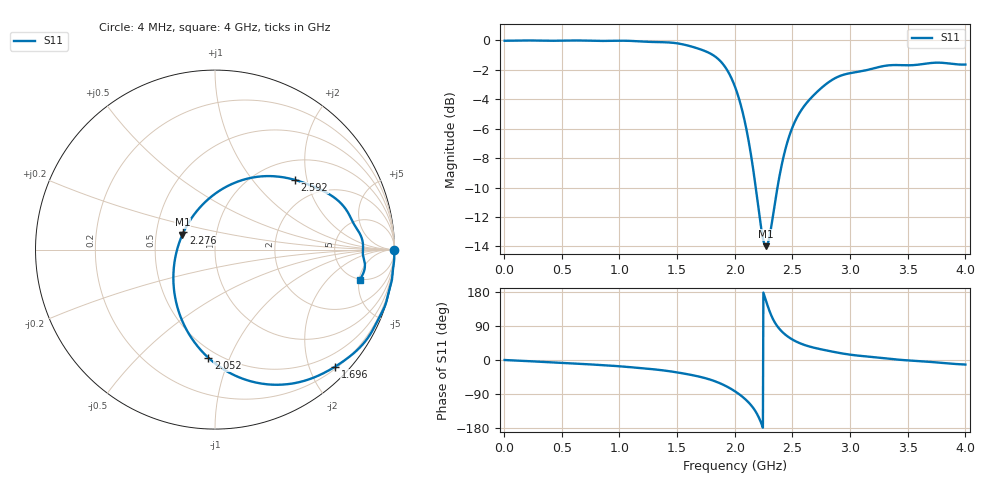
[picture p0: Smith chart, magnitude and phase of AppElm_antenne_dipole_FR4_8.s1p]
! TOUCHSTONE file generated by CST MICROWAVE STUDIO
! Date and time: Thu May 12 15:49:39 2022
! Project name: AppElm_antenne_dipole_FR4.cst
! Parameters = {L=42.68; e=0.035; f=2.45e+09; h=1.6; i=0.8; l1=4; lambda=122.449; ls=30; wl=1.7; ws=80}
! Header version: 2018
! Port assignment regex: !\s*Touchstone port\s*([0-9]+)\s*=\s*(CST MWS port|CST DS port)\s*([0-9]+|Zmin|Zmax)\s*\(\"(.*)\"\)(\s*mode\s*([0-9]+))?.*
! Touchstone port assignment:
! Touchstone port 1 = CST MWS port 1 ("")
# GHz S MA R 50
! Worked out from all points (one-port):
!   1000 points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, 4 MHz to 4 GHz, reference 50 ohm
!   lowest |S11| = -14.0 dB at 2.272 GHz (marker M1), VSWR 1.50, Z = 34.2 + j5.96 ohm
!   |S11| at or under -10 dB: 2.182 GHz to 2.37 GHz (188.4 MHz wide, 8.28 % of centre)
!   S11 on the Smith chart (normalised r, x): 4 MHz: open; 1.696 GHz: 0.24, -2.44; 2.052 GHz: 0.44, -0.84; 2.276 GHz: 0.69, +0.14; 2.592 GHz: 1.42, +1.70; 4 GHz: 4.78, -5.24
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0.004  0.9976 -0.1
0.504  0.9984 -7.4
1.004  0.998 -16.7
1.336  0.9872 -25.8
1.504  0.9773 -32.9
1.696  0.9346 -44.2
1.8  0.8973 -53.1
1.888  0.84 -63.6
1.948  0.7758 -72.8
2.004  0.6928 -83.1
2.052  0.6038 -93.5
2.112  0.4742 -109.5
2.168  0.3463 -129.9
2.236  0.2211 -171.8
2.272  0.1999 155.3
2.276  0.2004 151.5
2.308  0.2227 123.8
2.388  0.3463 81.8
2.444  0.4342 65.5
2.504  0.511 53.3
2.592  0.5913 41.0
2.684  0.6514 32.7
2.812  0.7204 24.2
3.004  0.7745 13.9
3.308  0.8206 4.3
3.504  0.8235 -1.1
3.744  0.8404 -6.4
4  0.8282 -12.0
